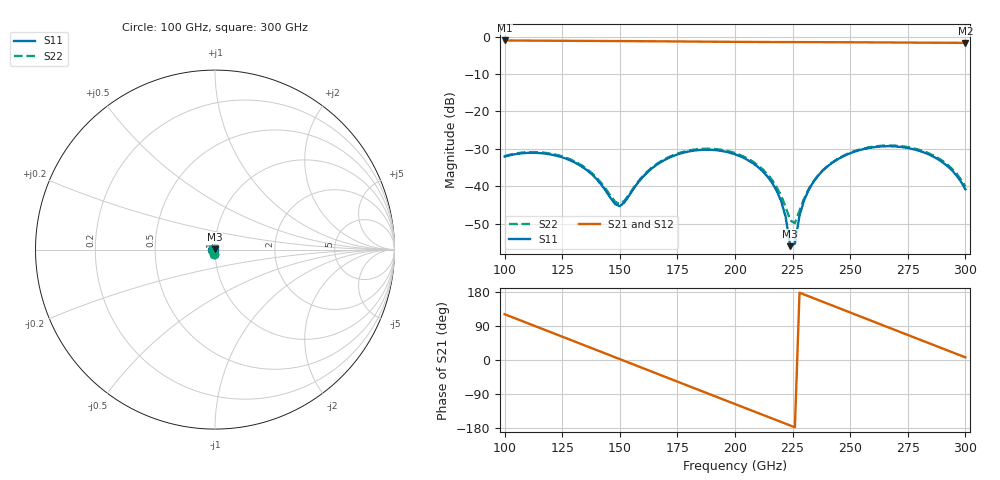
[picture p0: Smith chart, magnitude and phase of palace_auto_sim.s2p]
#  GHZ S DB R 50
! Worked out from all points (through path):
!   101 points, 100 GHz to 300 GHz, reference 50 ohm
!   highest |S21| = -1.04 dB at 100 GHz (marker M1); lowest = -1.7 dB at 300 GHz (marker M2)
!   group delay of S21, straight-line fit = 6.58 ps
!   lowest |S11| = -56.0 dB at 224 GHz (marker M3), VSWR 1.00, Z = 49.9 + j0.0721 ohm
!   |S11| at or under -10 dB: start of sweep to end of sweep
!   |S22| runs from -49.8 to -29.1 dB; largest |S21 - S12| = 1e-13
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100  -32.08 -109.3  -1.04 120.8  -1.04 120.8  -31.94 -108.5
116  -31.18 -144.7  -1.10 82.9  -1.10 82.9  -30.97 -143.3
134  -34.94 179.7  -1.15 40.3  -1.15 40.3  -34.64 -178.2
150  -45.32 -142.8  -1.21 2.3  -1.21 2.3  -44.75 -142.6
160  -37.49 -105.2  -1.24 -21.5  -1.24 -21.5  -37.29 -103.9
168  -33.48 -115.7  -1.27 -40.5  -1.27 -40.5  -33.27 -113.6
184  -30.34 -150.0  -1.34 -78.4  -1.34 -78.4  -30.09 -146.8
200  -31.47 171.9  -1.41 -116.2  -1.41 -116.2  -31.15 176.9
210  -34.88 148.6  -1.45 -139.8  -1.45 -139.8  -34.42 156.1
216  -38.98 136.1  -1.46 -154.0  -1.46 -154.0  -38.26 147.2
220  -43.94 130.6  -1.47 -163.5  -1.47 -163.5  -42.53 147.6
222  -48.22 132.0  -1.47 -168.2  -1.47 -168.2  -45.62 154.6
224  -56.02 152.8  -1.47 -172.9  -1.47 -172.9  -49.16 175.9
226  -55.33 -110.3  -1.48 -177.7  -1.48 -177.7  -49.84 -143.1
228  -47.87 -92.5  -1.48 177.6  -1.48 177.6  -46.56 -115.9
230  -43.73 -91.4  -1.48 172.9  -1.48 172.9  -43.28 -106.2
234  -38.87 -96.7  -1.49 163.4  -1.49 163.4  -38.73 -104.0
242  -33.82 -112.8  -1.51 144.4  -1.51 144.4  -33.72 -115.0
252  -30.74 -135.0  -1.53 120.6  -1.53 120.6  -30.60 -134.7
268  -29.32 -171.9  -1.58 82.7  -1.58 82.7  -29.12 -169.4
288  -32.75 140.0  -1.65 35.3  -1.65 35.3  -32.42 146.6
300  -40.84 107.2  -1.68 6.9  -1.68 6.9  -40.11 124.6
